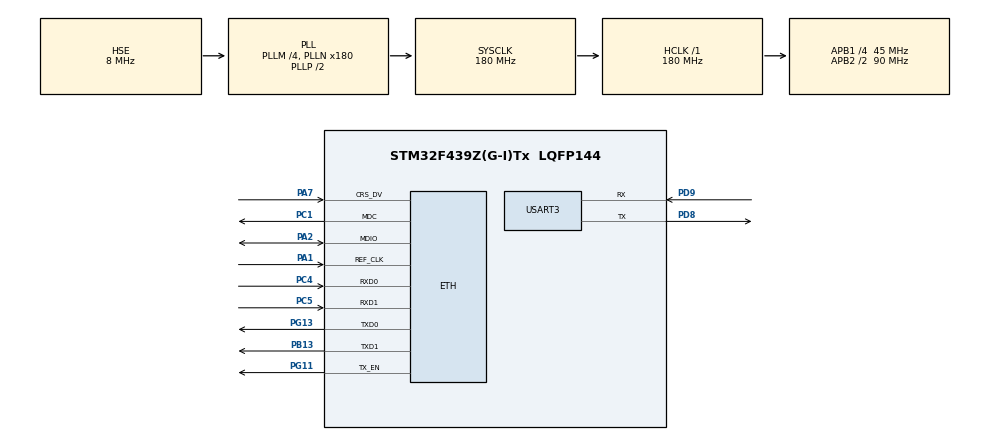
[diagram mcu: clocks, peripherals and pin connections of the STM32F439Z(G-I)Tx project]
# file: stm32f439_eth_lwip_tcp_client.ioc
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ETH.MACAddr=80\:34\:28\:74\:A5\:CB
ETH.MediaInterface=HAL_ETH_RMII_MODE
FREERTOS.Tasks01=defaultTask,24,512,StartDefaultTask,Default,NULL,Dynamic,NULL,NULL
FREERTOS.configGENERATE_RUN_TIME_STATS=1
FREERTOS.configRECORD_STACK_HIGH_ADDRESS=1
FREERTOS.configUSE_NEWLIB_REENTRANT=1
LWIP.BSP.number=1
LWIP.GATEWAY_ADDRESS=192.168.001.001
LWIP.IP_ADDRESS=192.168.001.120
LWIP.LWIP_DHCP=0
LWIP.NETMASK_ADDRESS=255.255.255.000
LWIP.Version=v2.1.2_Cube
LWIP0.BSP.STBoard=false
LWIP0.BSP.api=BSP_COMPONENT_DRIVER
LWIP0.BSP.component=LAN8742
LWIP0.BSP.instance=LAN8742
LWIP0.BSP.name=Driver_PHY
LWIP0.BSP.semaphore=S_LAN8742
LWIP0.BSP.solution=LAN8742
Mcu.Family=STM32F4
Mcu.Name=STM32F439Z(G-I)Tx
Mcu.Package=LQFP144
NVIC.ETH_IRQn=true\:5\:0\:false\:false\:true\:true\:false\:true\:true
NVIC.PriorityGroup=NVIC_PRIORITYGROUP_4
NVIC.TIM6_DAC_IRQn=true\:15\:0\:false\:false\:true\:false\:false\:true\:true
NVIC.TimeBase=TIM6_DAC_IRQn
NVIC.TimeBaseIP=TIM6
PA1.Mode=RMII
PA1.Signal=ETH_REF_CLK
PA13.Mode=Serial_Wire
PA13.Signal=SYS_JTMS-SWDIO
PA14.Mode=Serial_Wire
PA14.Signal=SYS_JTCK-SWCLK
PA2.Mode=RMII
PA2.Signal=ETH_MDIO
PA7.Mode=RMII
PA7.Signal=ETH_CRS_DV
PB13.Mode=RMII
PB13.Signal=ETH_TXD1
PC1.Mode=RMII
PC1.Signal=ETH_MDC
PC14/OSC32_IN.Mode=LSE-External-Oscillator
PC14/OSC32_IN.Signal=RCC_OSC32_IN
PC15/OSC32_OUT.Mode=LSE-External-Oscillator
PC15/OSC32_OUT.Signal=RCC_OSC32_OUT
PC4.Mode=RMII
PC4.Signal=ETH_RXD0
PC5.Mode=RMII
PC5.Signal=ETH_RXD1
PD8.Mode=Asynchronous
PD8.Signal=USART3_TX
PD9.Mode=Asynchronous
PD9.Signal=USART3_RX
PG11.Mode=RMII
PG11.Signal=ETH_TX_EN
PG13.Mode=RMII
PG13.Signal=ETH_TXD0
PH0/OSC_IN.Mode=HSE-External-Clock-Source
PH0/OSC_IN.Signal=RCC_OSC_IN
PH1/OSC_OUT.Mode=HSE-External-Clock-Source
PH1/OSC_OUT.Signal=RCC_OSC_OUT
ProjectManager.HeapSize=0x200
ProjectManager.StackSize=0x400
ProjectManager.TargetToolchain=STM32CubeIDE
RCC.48MHZClocksFreq_Value=90000000
RCC.AHBFreq_Value=180000000
RCC.APB1CLKDivider=RCC_HCLK_DIV4
RCC.APB1Freq_Value=45000000
RCC.APB1TimFreq_Value=90000000
RCC.APB2CLKDivider=RCC_HCLK_DIV2
RCC.APB2Freq_Value=90000000
RCC.APB2TimFreq_Value=180000000
RCC.CortexFreq_Value=180000000
RCC.HCLKFreq_Value=180000000
RCC.HSE_VALUE=8000000
RCC.HSI_VALUE=16000000
RCC.PLLM=4
RCC.PLLN=180
RCC.PLLSourceVirtual=RCC_PLLSOURCE_HSE
RCC.SYSCLKFreq_VALUE=180000000
RCC.SYSCLKSource=RCC_SYSCLKSOURCE_PLLCLK
RCC.VCOOutputFreq_Value=360000000
USART3.VirtualMode=VM_ASYNC
VP_FREERTOS_VS_CMSIS_V2.Mode=CMSIS_V2
VP_LWIP_VS_Enabled.Mode=Enabled
VP_SYS_VS_tim6.Mode=TIM6
board=custom

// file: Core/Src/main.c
/* USER CODE BEGIN Header */
/*
 * This is a simple TCP client example for STM32F439 Nucleo board.
 * It uses the internal Ethernet MAC of the STM32F439. On software
 * end it uses lwIP and FreeRTOS.
 *
 * On your PC,  use application like Hercules to create a TCP sever
 * which is listening on PORT 5000.
 *
 * Feed the IP of your PC on line number 322 in this file i.e. main.c
 * To find out the IP address of PC use the command ipconfig (Windows)
 *
 * This codes uses static IP for this board (no DHCP). The
 * IP address can be changed using the CubeMX GUI (load .ioc file)
 * I have used the IP 192.168.1.120
 * You can confirm the same by going through the implementation
 * of the function.
 *
 * void MX_LWIP_Init(void)
 *
 * This application first connects with the server (PC) and then sends
 * some text messages to the server, which we can view on Hercules
 * terminal. Then its disconnects the socket.
 *
 * Hardware: STM32F439 Nucleo Board
 *
 * This code is a part of my PAID course here at
 * https://www.stm32tutorials.com
 *
 * Author: Avinash Gupta
 */
/* USER CODE END Header */
#include "main.h"
#include "cmsis_os.h"
#include "lwip.h"

/* USER CODE BEGIN Includes */
#include <stdio.h>
#include <lwip/api.h>
/* USER CODE END Includes */

/* USER CODE BEGIN PM */
extern volatile int is_net_up;
/* USER CODE END PM */

UART_HandleTypeDef huart3;

/* Definitions for defaultTask */
osThreadId_t defaultTaskHandle;
const osThreadAttr_t defaultTask_attributes = {
  .name = "defaultTask",
  .stack_size = 512 * 4,
  .priority = (osPriority_t) osPriorityNormal,
};

void SystemClock_Config(void);
static void MX_GPIO_Init(void);
static void MX_USART3_UART_Init(void);
void StartDefaultTask(void *argument);

int main(void)
{

  /* MCU Configuration--------------------------------------------------------*/

  /* Reset of all peripherals, Initializes the Flash interface and the Systick. */
  HAL_Init();

  /* Configure the system clock */
  SystemClock_Config();

  /* Initialize all configured peripherals */
  MX_GPIO_Init();
  MX_USART3_UART_Init();

  /* Init scheduler */
  osKernelInitialize();

  /* Create the thread(s) */
  /* creation of defaultTask */
  defaultTaskHandle = osThreadNew(StartDefaultTask, NULL, &defaultTask_attributes);

  /* Start scheduler */
  osKernelStart();

  /* We should never get here as control is now taken by the scheduler */

  /* Infinite loop */
  while (1)
  {

  }
}

void SystemClock_Config(void)
{
  RCC_OscInitTypeDef RCC_OscInitStruct = {0};
  RCC_ClkInitTypeDef RCC_ClkInitStruct = {0};

  /** Configure the main internal regulator output voltage
  */
  __HAL_RCC_PWR_CLK_ENABLE();
  __HAL_PWR_VOLTAGESCALING_CONFIG(PWR_REGULATOR_VOLTAGE_SCALE1);

  /** Initializes the RCC Oscillators according to the specified parameters
  * in the RCC_OscInitTypeDef structure.
  */
  RCC_OscInitStruct.OscillatorType = RCC_OSCILLATORTYPE_HSE;
  RCC_OscInitStruct.HSEState = RCC_HSE_BYPASS;
  RCC_OscInitStruct.PLL.PLLState = RCC_PLL_ON;
  RCC_OscInitStruct.PLL.PLLSource = RCC_PLLSOURCE_HSE;
  RCC_OscInitStruct.PLL.PLLM = 4;
  RCC_OscInitStruct.PLL.PLLN = 180;
  RCC_OscInitStruct.PLL.PLLP = RCC_PLLP_DIV2;
  RCC_OscInitStruct.PLL.PLLQ = 4;
  if (HAL_RCC_OscConfig(&RCC_OscInitStruct) != HAL_OK)
  {
    Error_Handler();
  }

  /** Activate the Over-Drive mode
  */
  if (HAL_PWREx_EnableOverDrive() != HAL_OK)
  {
    Error_Handler();
  }

  /** Initializes the CPU, AHB and APB buses clocks
  */
  RCC_ClkInitStruct.ClockType = RCC_CLOCKTYPE_HCLK|RCC_CLOCKTYPE_SYSCLK
                              |RCC_CLOCKTYPE_PCLK1|RCC_CLOCKTYPE_PCLK2;
  RCC_ClkInitStruct.SYSCLKSource = RCC_SYSCLKSOURCE_PLLCLK;
  RCC_ClkInitStruct.AHBCLKDivider = RCC_SYSCLK_DIV1;
  RCC_ClkInitStruct.APB1CLKDivider = RCC_HCLK_DIV4;
  RCC_ClkInitStruct.APB2CLKDivider = RCC_HCLK_DIV2;

  if (HAL_RCC_ClockConfig(&RCC_ClkInitStruct, FLASH_LATENCY_5) != HAL_OK)
  {
    Error_Handler();
  }
}

static void MX_USART3_UART_Init(void)
{

  huart3.Instance = USART3;
  huart3.Init.BaudRate = 115200;
  huart3.Init.WordLength = UART_WORDLENGTH_8B;
  huart3.Init.StopBits = UART_STOPBITS_1;
  huart3.Init.Parity = UART_PARITY_NONE;
  huart3.Init.Mode = UART_MODE_TX_RX;
  huart3.Init.HwFlowCtl = UART_HWCONTROL_NONE;
  huart3.Init.OverSampling = UART_OVERSAMPLING_16;
  if (HAL_UART_Init(&huart3) != HAL_OK)
  {
    Error_Handler();
  }

}

static void MX_GPIO_Init(void)
{

  /* GPIO Ports Clock Enable */
  __HAL_RCC_GPIOC_CLK_ENABLE();
  __HAL_RCC_GPIOH_CLK_ENABLE();
  __HAL_RCC_GPIOA_CLK_ENABLE();
  __HAL_RCC_GPIOB_CLK_ENABLE();
  __HAL_RCC_GPIOD_CLK_ENABLE();
  __HAL_RCC_GPIOG_CLK_ENABLE();

}

/* USER CODE BEGIN 4 */
int putchar(int ch)
{
    HAL_UART_Transmit(&huart3,(uint8_t *)&ch,1,1);
    return ch;
}

/* USER CODE END 4 */

void StartDefaultTask(void *argument)
{
  /* init code for LWIP */
  MX_LWIP_Init();

  /* USER CODE BEGIN 5 */
  printf("Simple TCP Client example for Nucleo 439 using lwIP stack\r\n ");
  printf("---------------------------------------------------------\r\n ");

  while(is_net_up==0)
  {
	  printf("Waiting for Ethernet Cable plug in ... \r\n ");
	  osDelay(1000);
  }

  printf("GREAT! Cable plugged in !\r\n ");
  //Simple TCP Client!
  //IP address of the remote server
  ip_addr_t server_ip;

  //This holds the return values from network functions
  //mainly used to check error or success
  err_t status;

  //This struct represent a network connection
  struct netconn *conn;

  //Allocate resources for a new connection
  //Parameter tells what type of connection we need
  //Other option is for NETCONN_UDP
  conn=netconn_new(NETCONN_TCP);

  IP4_ADDR(&server_ip,192,168,1,22);//My PC's local IP address is 192.168.2.17

  printf("Connecting to server @ %s... (edit line 322 in main.c)\r\n ",ip4addr_ntoa(&server_ip));

  status=netconn_connect(conn, &server_ip, 5000);

  if(status==ERR_OK)
  {
      printf("Connected to server! \r\n ");
  }
  else
  {
      printf("Sorry ! Could not connect to server.\r\n ");

      while(1);
  }

  //Send a Hello Message 5 time, waiting 1 second
  for(int i=0;i<5;i++)
  {
      printf("Sending data to server \r\n ");

      status=netconn_write(conn,"HELLO FROM STM32\r\n",18,NETCONN_NOCOPY);

      if(status!=ERR_OK)
      {
          //Sending failed
          printf("Sending failed! \r\n ");

          netconn_delete(conn);

          while(1);
      }
      else if(status==ERR_OK)
      {
          printf("Data sent successfully ! \r\n\r\n ");
      }

      osDelay(1000);

  }//end for loop, 5 times looping done

  //Clean up resources
  netconn_close(conn);
  netconn_delete(conn);

  printf("Application ended ! \r\n ");

  while(1);//thread function should not return
  /* USER CODE END 5 */
}

void HAL_TIM_PeriodElapsedCallback(TIM_HandleTypeDef *htim)
{
  if (htim->Instance == TIM6) {
    HAL_IncTick();
  }
}

void Error_Handler(void)
{
  __disable_irq();
  while (1)
  {
  }
}
